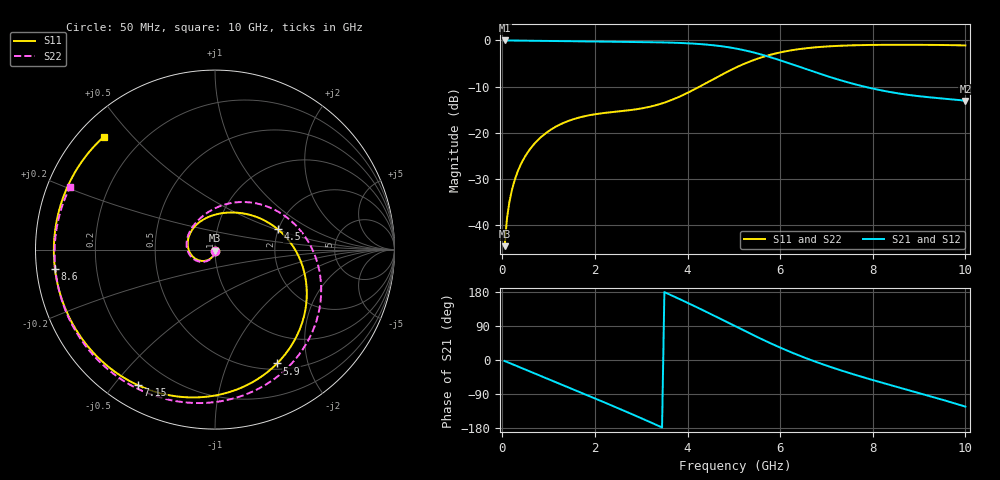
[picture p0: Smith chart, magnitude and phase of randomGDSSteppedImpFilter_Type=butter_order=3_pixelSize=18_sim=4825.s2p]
! freq	dB(S11)	phase(S11)	dB(S12)	phase(S12)
!  dB(S21)	phase(S21)	dB(S22)	phase(S22)
!S-par simulation data
#  GHz  S  DB  R 50
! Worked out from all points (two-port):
!   200 points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, 50 MHz to 10 GHz, reference 50 ohm
!   highest |S21| = -0.01 dB at 50 MHz (marker M1); lowest = -13.1 dB at 10 GHz (marker M2)
!   |S21| within 3 dB of the highest: start of sweep to 5.578 GHz
!   lowest |S11| = -44.5 dB at 50 MHz (marker M3), VSWR 1.01, Z = 50 - j0.596 ohm
!   |S11| at or under -10 dB: start of sweep to 4.258 GHz
!   |S22| runs from -44.5 to -0.9 dB; largest |S21 - S12| = 0
!   S11 on the Smith chart (normalised r, x): 50 MHz: 1.00, -0.01; 4.5 GHz: 1.99, +0.52; 5.9 GHz: 0.58, -1.53; 7.15 GHz: 0.09, -0.58; 8.6 GHz: 0.05, -0.06; 10 GHz: 0.07, +0.42
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0.05  -44.49 -90.9  -0.01 -2.6  -0.01 -2.6  -44.49 -90.7
0.1  -38.60 -94.2  -0.01 -5.1  -0.01 -5.1  -38.60 -93.8
0.2  -32.68 -100.3  -0.02 -10.2  -0.02 -10.2  -32.68 -99.4
0.5  -24.96 -117.0  -0.05 -25.4  -0.05 -25.4  -24.96 -114.8
1.15  -18.68 -152.0  -0.13 -58.3  -0.13 -58.3  -18.69 -146.4
1.75  -16.45 175.4  -0.20 -88.6  -0.20 -88.6  -16.46 -174.9
2.5  -15.36 133.1  -0.28 -127.2  -0.28 -127.2  -15.38 150.0
2.95  -14.80 106.8  -0.33 -150.9  -0.33 -150.9  -14.83 128.7
3.4  -13.77 80.4  -0.41 -175.3  -0.41 -175.3  -13.82 106.1
3.95  -11.58 48.9  -0.59 153.8  -0.59 153.8  -11.64 75.7
4.5  -8.68 17.9  -0.98 121.4  -0.98 121.4  -8.72 42.4
5.05  -5.84 -13.7  -1.76 88.0  -1.76 88.0  -5.86 7.6
5.5  -3.99 -39.5  -2.79 60.9  -2.79 60.9  -4.00 -20.3
5.9  -2.82 -61.4  -3.98 38.2  -3.98 38.2  -2.82 -43.6
6.3  -2.04 -81.7  -5.31 17.3  -5.31 17.3  -2.03 -64.9
6.7  -1.55 -100.4  -6.68 -1.7  -6.68 -1.7  -1.54 -84.0
7.15  -1.22 -119.5  -8.15 -20.9  -8.15 -20.9  -1.21 -103.3
7.75  -1.01 -142.7  -9.82 -43.9  -9.82 -43.9  -0.99 -126.1
8.35  -0.94 -164.3  -11.11 -65.1  -11.11 -65.1  -0.92 -146.8
8.6  -0.93 -173.1  -11.53 -73.6  -11.53 -73.6  -0.92 -155.1
9.35  -0.97 160.2  -12.41 -99.4  -12.41 -99.4  -0.97 -179.7
10  -1.08 134.7  -13.07 -123.0  -13.07 -123.0  -1.11 156.8
